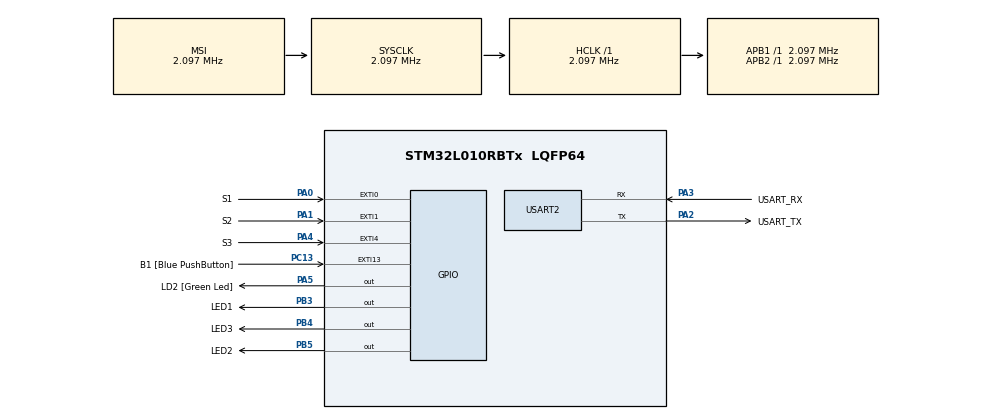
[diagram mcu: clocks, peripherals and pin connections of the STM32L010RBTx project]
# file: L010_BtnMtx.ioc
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Mcu.Family=STM32L0
Mcu.Name=STM32L010RBTx
Mcu.Package=LQFP64
NVIC.EXTI0_1_IRQn=true\:1\:0\:true\:false\:true\:true\:true\:true
NVIC.EXTI4_15_IRQn=true\:2\:0\:true\:false\:true\:true\:true\:true
PA0.GPIO_Label=S1
PA0.GPIO_ModeDefaultEXTI=GPIO_MODE_IT_FALLING
PA0.Signal=GPXTI0
PA1.GPIO_Label=S2
PA1.GPIO_ModeDefaultEXTI=GPIO_MODE_IT_FALLING
PA1.Signal=GPXTI1
PA13.GPIO_Label=TMS
PA13.Mode=Serial_Wire
PA13.Signal=SYS_SWDIO
PA14.GPIO_Label=TCK
PA14.Mode=Serial_Wire
PA14.Signal=SYS_SWCLK
PA2.GPIO_Label=USART_TX
PA2.Mode=Asynchronous
PA2.Signal=USART2_TX
PA3.GPIO_Label=USART_RX
PA3.Mode=Asynchronous
PA3.Signal=USART2_RX
PA4.GPIO_Label=S3
PA4.GPIO_ModeDefaultEXTI=GPIO_MODE_IT_FALLING
PA4.Signal=GPXTI4
PA5.GPIO_Label=LD2 [Green Led]
PA5.PinState=GPIO_PIN_SET
PA5.Signal=GPIO_Output
PB3.GPIO_Label=LED1
PB3.GPIO_ModeDefaultOutputPP=GPIO_MODE_OUTPUT_OD
PB3.GPIO_PuPd=GPIO_NOPULL
PB3.PinState=GPIO_PIN_SET
PB3.Signal=GPIO_Output
PB4.GPIO_Label=LED3
PB4.GPIO_ModeDefaultOutputPP=GPIO_MODE_OUTPUT_OD
PB4.GPIO_PuPd=GPIO_NOPULL
PB4.PinState=GPIO_PIN_SET
PB4.Signal=GPIO_Output
PB5.GPIO_Label=LED2
PB5.GPIO_ModeDefaultOutputPP=GPIO_MODE_OUTPUT_OD
PB5.GPIO_PuPd=GPIO_NOPULL
PB5.PinState=GPIO_PIN_SET
PB5.Signal=GPIO_Output
PC13.GPIO_Label=B1 [Blue PushButton]
PC13.GPIO_ModeDefaultEXTI=GPIO_MODE_IT_FALLING
PC13.Signal=GPXTI13
PC14-OSC32_IN.Mode=LSE-External-Oscillator
PC14-OSC32_IN.Signal=RCC_OSC32_IN
PC15-OSC32_OUT.Mode=LSE-External-Oscillator
PC15-OSC32_OUT.Signal=RCC_OSC32_OUT
PH0-OSC_IN.GPIO_Label=MCO
PH0-OSC_IN.Mode=HSE-External-Clock-Source
PH0-OSC_IN.Signal=RCC_OSC_IN
ProjectManager.HeapSize=0x200
ProjectManager.StackSize=0x400
ProjectManager.TargetToolchain=STM32CubeIDE
RCC.AHBFreq_Value=2097000
RCC.APB1Freq_Value=2097000
RCC.APB1TimFreq_Value=2097000
RCC.APB2Freq_Value=2097000
RCC.APB2TimFreq_Value=2097000
RCC.HSE_VALUE=8000000
RCC.HSI16_VALUE=16000000
RCC.HSI48_VALUE=48000000
RCC.HSI_VALUE=16000000
RCC.MSI_VALUE=2097000
RCC.SYSCLKFreq_VALUE=2097000
RCC.VCOOutputFreq_Value=48000000
USART2.VirtualMode-Asynchronous=VM_ASYNC
board=NUCLEO-L010RB

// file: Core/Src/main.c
/* USER CODE BEGIN Header */
/**
  ******************************************************************************
  * @file           : main.c
  * @brief          : Main program body
  ******************************************************************************
  * @attention
  *
  * Copyright (c) 2022 STMicroelectronics.
  * All rights reserved.
  *
  * This software is licensed under terms that can be found in the LICENSE file
  * in the root directory of this software component.
  * If no LICENSE file comes with this software, it is provided AS-IS.
  *
  ******************************************************************************
  */
/* USER CODE END Header */
#include "main.h"

 UART_HandleTypeDef huart2;

/* USER CODE BEGIN PV */
uint16_t counter = 0;
/* USER CODE END PV */

void SystemClock_Config(void);
static void MX_GPIO_Init(void);
static void MX_USART2_UART_Init(void);

int main(void)
{

  /* MCU Configuration--------------------------------------------------------*/

  /* Reset of all peripherals, Initializes the Flash interface and the Systick. */
  HAL_Init();

  /* Configure the system clock */
  SystemClock_Config();

  /* Initialize all configured peripherals */
  MX_GPIO_Init();
  MX_USART2_UART_Init();
  /* USER CODE BEGIN 2 */

  //GPIOA->MODER = GPIOA->MODER & 0xffffff7f;
  //GPIOA->OTYPER = GPIOA->OTYPER | GPIO_PIN_3;
  //GPIOA->PUPDR = (GPIOA->PUPDR & 0xffffff3f) | 0x40;
  /* USER CODE END 2 */

  /* Infinite loop */
  while (1)
  {

    /* USER CODE BEGIN 3 */

	  // Main task Dummy
	  HAL_GPIO_TogglePin(LD2_GPIO_Port, LD2_Pin);
	  counter++;
	  HAL_Delay(100);

  }
  /* USER CODE END 3 */
}

void SystemClock_Config(void)
{
  RCC_OscInitTypeDef RCC_OscInitStruct = {0};
  RCC_ClkInitTypeDef RCC_ClkInitStruct = {0};
  RCC_PeriphCLKInitTypeDef PeriphClkInit = {0};

  /** Configure the main internal regulator output voltage
  */
  __HAL_PWR_VOLTAGESCALING_CONFIG(PWR_REGULATOR_VOLTAGE_SCALE1);

  /** Initializes the RCC Oscillators according to the specified parameters
  * in the RCC_OscInitTypeDef structure.
  */
  RCC_OscInitStruct.OscillatorType = RCC_OSCILLATORTYPE_MSI;
  RCC_OscInitStruct.MSIState = RCC_MSI_ON;
  RCC_OscInitStruct.MSICalibrationValue = 0;
  RCC_OscInitStruct.MSIClockRange = RCC_MSIRANGE_5;
  RCC_OscInitStruct.PLL.PLLState = RCC_PLL_NONE;
  if (HAL_RCC_OscConfig(&RCC_OscInitStruct) != HAL_OK)
  {
    Error_Handler();
  }

  /** Initializes the CPU, AHB and APB buses clocks
  */
  RCC_ClkInitStruct.ClockType = RCC_CLOCKTYPE_HCLK|RCC_CLOCKTYPE_SYSCLK
                              |RCC_CLOCKTYPE_PCLK1|RCC_CLOCKTYPE_PCLK2;
  RCC_ClkInitStruct.SYSCLKSource = RCC_SYSCLKSOURCE_MSI;
  RCC_ClkInitStruct.AHBCLKDivider = RCC_SYSCLK_DIV1;
  RCC_ClkInitStruct.APB1CLKDivider = RCC_HCLK_DIV1;
  RCC_ClkInitStruct.APB2CLKDivider = RCC_HCLK_DIV1;

  if (HAL_RCC_ClockConfig(&RCC_ClkInitStruct, FLASH_LATENCY_0) != HAL_OK)
  {
    Error_Handler();
  }
  PeriphClkInit.PeriphClockSelection = RCC_PERIPHCLK_USART2;
  PeriphClkInit.Usart2ClockSelection = RCC_USART2CLKSOURCE_PCLK1;
  if (HAL_RCCEx_PeriphCLKConfig(&PeriphClkInit) != HAL_OK)
  {
    Error_Handler();
  }
}

static void MX_USART2_UART_Init(void)
{

  huart2.Instance = USART2;
  huart2.Init.BaudRate = 115200;
  huart2.Init.WordLength = UART_WORDLENGTH_8B;
  huart2.Init.StopBits = UART_STOPBITS_1;
  huart2.Init.Parity = UART_PARITY_NONE;
  huart2.Init.Mode = UART_MODE_TX_RX;
  huart2.Init.HwFlowCtl = UART_HWCONTROL_NONE;
  huart2.Init.OverSampling = UART_OVERSAMPLING_16;
  huart2.Init.OneBitSampling = UART_ONE_BIT_SAMPLE_DISABLE;
  huart2.AdvancedInit.AdvFeatureInit = UART_ADVFEATURE_NO_INIT;
  if (HAL_UART_Init(&huart2) != HAL_OK)
  {
    Error_Handler();
  }

}

static void MX_GPIO_Init(void)
{
  GPIO_InitTypeDef GPIO_InitStruct = {0};

  /* GPIO Ports Clock Enable */
  __HAL_RCC_GPIOC_CLK_ENABLE();
  __HAL_RCC_GPIOH_CLK_ENABLE();
  __HAL_RCC_GPIOA_CLK_ENABLE();
  __HAL_RCC_GPIOB_CLK_ENABLE();

  /*Configure GPIO pin Output Level */
  HAL_GPIO_WritePin(LD2_GPIO_Port, LD2_Pin, GPIO_PIN_SET);

  /*Configure GPIO pin Output Level */
  HAL_GPIO_WritePin(GPIOB, LED1_Pin|LED3_Pin|LED2_Pin, GPIO_PIN_SET);

  /*Configure GPIO pin : B1_Pin */
  GPIO_InitStruct.Pin = B1_Pin;
  GPIO_InitStruct.Mode = GPIO_MODE_IT_FALLING;
  GPIO_InitStruct.Pull = GPIO_NOPULL;
  HAL_GPIO_Init(B1_GPIO_Port, &GPIO_InitStruct);

  /*Configure GPIO pins : S1_Pin S2_Pin S3_Pin */
  GPIO_InitStruct.Pin = S1_Pin|S2_Pin|S3_Pin;
  GPIO_InitStruct.Mode = GPIO_MODE_IT_FALLING;
  GPIO_InitStruct.Pull = GPIO_NOPULL;
  HAL_GPIO_Init(GPIOA, &GPIO_InitStruct);

  /*Configure GPIO pin : LD2_Pin */
  GPIO_InitStruct.Pin = LD2_Pin;
  GPIO_InitStruct.Mode = GPIO_MODE_OUTPUT_PP;
  GPIO_InitStruct.Pull = GPIO_NOPULL;
  GPIO_InitStruct.Speed = GPIO_SPEED_FREQ_LOW;
  HAL_GPIO_Init(LD2_GPIO_Port, &GPIO_InitStruct);

  /*Configure GPIO pins : LED1_Pin LED3_Pin LED2_Pin */
  GPIO_InitStruct.Pin = LED1_Pin|LED3_Pin|LED2_Pin;
  GPIO_InitStruct.Mode = GPIO_MODE_OUTPUT_OD;
  GPIO_InitStruct.Pull = GPIO_NOPULL;
  GPIO_InitStruct.Speed = GPIO_SPEED_FREQ_LOW;
  HAL_GPIO_Init(GPIOB, &GPIO_InitStruct);

  /* EXTI interrupt init*/
  HAL_NVIC_SetPriority(EXTI0_1_IRQn, 1, 0);
  HAL_NVIC_EnableIRQ(EXTI0_1_IRQn);

  HAL_NVIC_SetPriority(EXTI4_15_IRQn, 2, 0);
  HAL_NVIC_EnableIRQ(EXTI4_15_IRQn);

}

/* USER CODE BEGIN 4 */
void HAL_GPIO_EXTI_Callback(uint16_t GPIO_Pin)
{
  /* Prevent unused argument(s) compilation warning */
  /* NOTE: This function Should not be modified, when the callback is needed,
           the HAL_GPIO_EXTI_Callback could be implemented in the user file
   */

	if(GPIO_Pin == GPIO_PIN_0){
		HAL_GPIO_WritePin(LED1_GPIO_Port, LED1_Pin, GPIO_PIN_RESET); // ON LED
		while(HAL_GPIO_ReadPin(S1_GPIO_Port, S1_Pin) == GPIO_PIN_RESET){
			HAL_GPIO_TogglePin(LED1_GPIO_Port, LED1_Pin);            // While state loop
			HAL_Delay(100);
		}
		HAL_GPIO_WritePin(LED1_GPIO_Port, LED1_Pin, GPIO_PIN_SET);  // OFF LED
	}

	if(GPIO_Pin == GPIO_PIN_1){
			HAL_GPIO_WritePin(LED2_GPIO_Port, LED2_Pin, GPIO_PIN_RESET); // ON LED
			while(HAL_GPIO_ReadPin(S2_GPIO_Port, S2_Pin) == GPIO_PIN_RESET){
				HAL_GPIO_TogglePin(LED2_GPIO_Port, LED2_Pin);            // While state loop
				HAL_Delay(100);
			}
		HAL_GPIO_WritePin(LED2_GPIO_Port, LED2_Pin, GPIO_PIN_SET);  // OFF LED
		}

	if(GPIO_Pin == GPIO_PIN_4){
			HAL_GPIO_WritePin(LED3_GPIO_Port, LED3_Pin, GPIO_PIN_RESET); // ON LED
			while(HAL_GPIO_ReadPin(S3_GPIO_Port, S3_Pin) == GPIO_PIN_RESET){
				HAL_GPIO_TogglePin(LED3_GPIO_Port, LED3_Pin);            // While state loop
				HAL_Delay(100);
			}
		HAL_GPIO_WritePin(LED3_GPIO_Port, LED3_Pin, GPIO_PIN_SET);  // OFF LED
		}

}
/* USER CODE END 4 */

void Error_Handler(void)
{
  __disable_irq();
  while (1)
  {
  }
}
